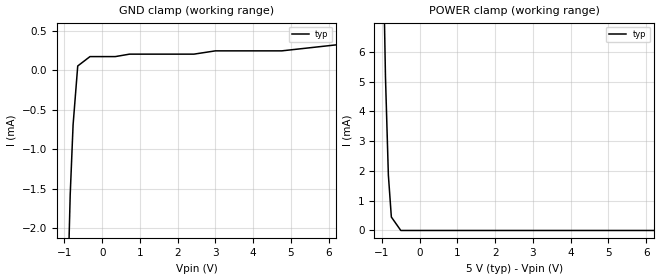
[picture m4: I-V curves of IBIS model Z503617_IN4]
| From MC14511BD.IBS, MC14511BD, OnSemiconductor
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| (C) COPYRIGHT 1993-2000
| MENTOR GRAPHICS CORPORATION
| ICX STANDARD LIBRARY, ICX PROJECT MODELING,
| ICX CUSTOM MODELING, ICX VENDOR MODEL
| ALL RIGHTS RESERVED.
| THE FOLLOWING ARE TRADEMARKS OR SERVICE MARKS OF
| MENTOR GRAPHICS CORPORATION:ICX (R), ICX STANDARD
| LIBRARY(R), ICX PROJECT MODELING(R), ICX CUSTOM
| MODELING(R), qualityIBIS(TM), MODELVIEWER(TM),
| AND MODELEDITOR(TM)
| ALL COPIES OF SOFTWARE, INCLUDING BUT NOT LIMITED TO
| ANY MODIFICATIONS, ENHANCEMENTS OR DERIVATIVE WORKS,
| MUST CONTAIN ALL MENTOR GRAPHICS CORPORATION'S
| NOTICES AND LEGENDS, INCLUDING THOSE EMBEDDED IN
| SOFTWARE AND THOSE AFFIXED TO SOFTWARE MEDIUM
| AND CONTAINER, AS RECEIVED FROM MENTOR GRAPHICS
| CORPORATION.
| Model Application Version 1.89 2/18/99.
[Model] Z503617_IN4
Model_type Input
Vinl = 1.500V
Vinh = 3.500V
C_comp 4.000pF NA NA
| variable typ   min   max
[Voltage Range] 5.000V NA NA
[GND Clamp Reference] 0.000V NA NA
[POWER Clamp Reference] 5.000V NA NA
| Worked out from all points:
|   GND clamp passes 1 mA (typ) near -0.80 V on its own axis
|   POWER clamp passes 1 mA (typ) near -0.78 V on its own axis
[GND Clamp]
-5V       -200.7mA   NA         NA
-1.005V   -4.477mA   NA         NA
-847.5mV  -1.578mA   NA         NA
-771.3mV  -691.2uA   NA         NA
-648.3mV  56.41uA    NA         NA
-324.1mV  175.5uA    NA         NA
345.6mV   175.5uA    NA         NA
723.5mV   206.7uA    NA         NA
2.429V    206.7uA    NA         NA
2.998V    248.4uA    NA         NA
4.756V    248.4uA    NA         NA
10V       525.3uA    NA         NA
[POWER Clamp]
-5V       582.5mA    NA         NA
-1.181V   31.3mA     NA         NA
-1.055V   16.89mA    NA         NA
-1.001V   11.73mA    NA         NA
-907mV    5.162mA    NA         NA
-830mV    1.861mA    NA         NA
-751mV    451.8uA    NA         NA
-500.7mV  0A         NA         NA
10V       0A         NA         NA
